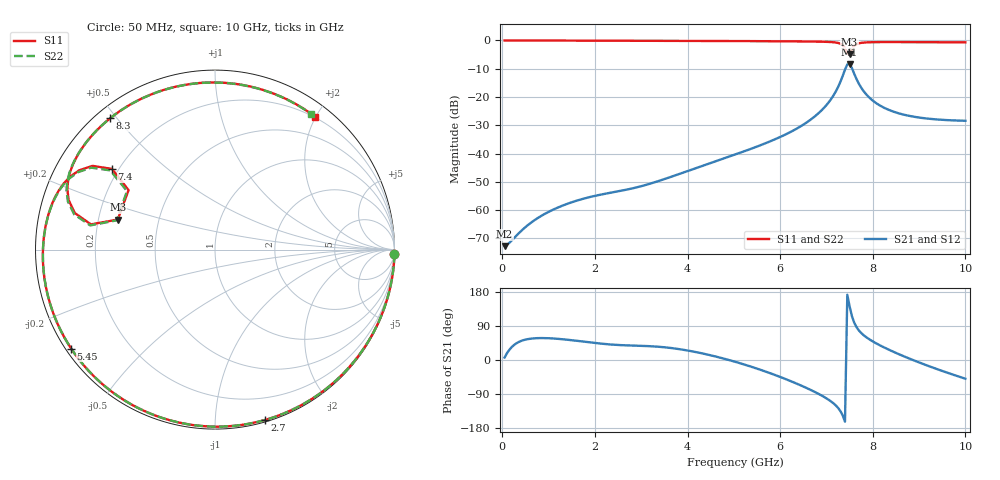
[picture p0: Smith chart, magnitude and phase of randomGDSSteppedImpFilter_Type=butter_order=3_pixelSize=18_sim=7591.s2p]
! freq	dB(S11)	phase(S11)	dB(S12)	phase(S12)
!  dB(S21)	phase(S21)	dB(S22)	phase(S22)
!S-par simulation data
#  GHz  S  DB  R 50
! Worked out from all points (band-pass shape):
!   200 points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, 50 MHz to 10 GHz, reference 50 ohm
!   highest |S21| = -8.28 dB at 7.5 GHz (marker M1); lowest = -72.7 dB at 50 MHz (marker M2)
!   |S21| within 3 dB of the highest: 7.379 GHz to 7.587 GHz (208.4 MHz wide, 2.79 % of centre)
!   lowest |S11| = -4.9 dB at 7.5 GHz (marker M3), VSWR 3.62, Z = 14.1 + j6.95 ohm
!   |S11| at or under -10 dB: nowhere
!   |S22| runs from -4.9 to 0.0 dB; largest |S21 - S12| = 0
!   S11 on the Smith chart (normalised r, x): 50 MHz: 0, -81; 2.7 GHz: 0.02, -1.34; 5.45 GHz: 0.02, -0.31; 7.4 GHz: 0.17, +0.34; 8.3 GHz: 0.04, +0.48; 10 GHz: 0.19, +2.00
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0.05  -0.00 -1.4  -72.75 6.5  -72.75 6.5  -0.00 -1.4
0.8  -0.02 -22.4  -62.45 57.9  -62.45 57.9  -0.02 -22.3
1.75  -0.06 -48.3  -55.97 48.6  -55.97 48.6  -0.06 -48.3
2.7  -0.09 -73.6  -52.71 38.5  -52.71 38.5  -0.09 -73.5
3.4  -0.12 -91.8  -49.57 34.7  -49.57 34.7  -0.12 -91.7
4.2  -0.16 -112.5  -45.06 20.5  -45.06 20.5  -0.16 -112.3
5.05  -0.21 -134.7  -40.22 -5.5  -40.22 -5.5  -0.21 -134.5
5.45  -0.24 -145.5  -37.84 -20.7  -37.84 -20.7  -0.24 -145.2
6.7  -0.38 177.2  -27.49 -81.4  -27.49 -81.4  -0.38 177.8
7  -0.49 166.1  -22.85 -101.2  -22.85 -101.2  -0.48 166.7
7.2  -0.72 156.5  -18.09 -119.7  -18.09 -119.7  -0.72 157.2
7.3  -1.14 149.8  -14.66 -134.6  -14.66 -134.6  -1.14 150.6
7.4  -2.74 141.9  -10.31 -162.7  -10.31 -162.7  -2.71 142.9
7.45  -4.66 145.4  -8.48 172.2  -8.48 172.2  -4.60 146.4
7.5  -4.93 162.9  -8.28 141.5  -8.28 141.5  -4.86 163.4
7.6  -1.86 165.4  -11.81 98.3  -11.81 98.3  -1.84 166.0
7.7  -1.01 157.6  -15.31 78.0  -15.31 78.0  -1.00 158.3
7.95  -0.63 143.9  -20.57 52.7  -20.57 52.7  -0.62 144.7
8.3  -0.57 128.6  -24.23 29.9  -24.23 29.9  -0.57 129.6
8.35  -0.57 126.5  -24.58 27.0  -24.58 27.0  -0.57 127.5
9.2  -0.62 89.6  -27.67 -15.7  -27.67 -15.7  -0.62 91.1
10  -0.66 52.9  -28.41 -49.4  -28.41 -49.4  -0.67 54.6
